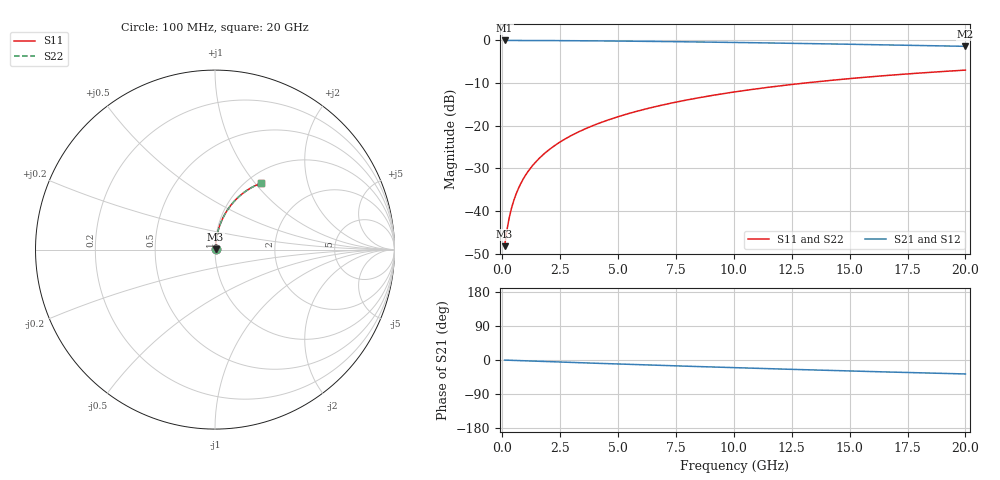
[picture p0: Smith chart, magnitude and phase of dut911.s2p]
! Touchstone file exported from HFSS 2024.1.0
!  File:  C:/UserFiles/LocalFiles/RDL_TSV_Batchsim/temp_RDL_top_911_1779935995.aedt
!  Generated:  10:43:14 AM May 28, 2026
!  Design:  RDL_top
!  Project:  temp_RDL_top_911_1779935995
!  Setup:  Setup1
!  Solution:  Sweep
! Variables:
!  dtsv = 10.80580581um
!  hbump = 3um
!  htsv = 80.21um
!  ldown = 100um
!  lrdl = 432.27um
!  p = 40
!  p1 = 58.6um
!  rhole = 1um
!  t = 450um
!  tdown = 3.915915916um
!  trdl = 4.93um
!  wdown = 15.38538539um
!  wrdl = 11.06um
# GHz S MA R 50.000000
! Terminal data exported
! Port[1] = Box2_T1
! Port[2] = Box2_T2
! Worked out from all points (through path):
!   200 points, 100 MHz to 20 GHz, reference 50 ohm
!   highest |S21| = -0.02 dB at 100 MHz (marker M1); lowest = -1.4 dB at 20 GHz (marker M2)
!   group delay of S21, straight-line fit = 5.12 ps
!   lowest |S11| = -48.2 dB at 100 MHz (marker M3), VSWR 1.01, Z = 50.3 + j0.266 ohm
!   |S11| at or under -10 dB: start of sweep to 13.05 GHz
!   |S22| runs from -48.2 to -7.0 dB; largest |S21 - S12| = 3.4e-15
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0.1  0.003897 42.7  0.9971 -0.2  0.9971 -0.2  0.003897 42.7
! Gamma 0 0 0 0
! Port Impedance 50 0 50 0
0.2  0.006004 61.4  0.9971 -0.4  0.9971 -0.4  0.006004 61.4
0.3  0.008403 69.8  0.997 -0.7  0.997 -0.7  0.008404 69.8
0.4  0.0109 74.3  0.9969 -0.9  0.9969 -0.9  0.0109 74.3
0.5  0.01343 77.0  0.9968 -1.1  0.9968 -1.1  0.01344 77.0
0.6  0.01599 78.7  0.9967 -1.3  0.9967 -1.3  0.01599 78.7
0.8  0.02113 80.8  0.9964 -1.7  0.9964 -1.7  0.02113 80.8
1.1  0.02885 82.2  0.996 -2.4  0.996 -2.4  0.02886 82.2
1.5  0.03914 82.8  0.9953 -3.2  0.9953 -3.2  0.03915 82.8
1.8  0.04683 82.9  0.9946 -3.9  0.9946 -3.9  0.04684 82.9
2.1  0.0545 82.8  0.9938 -4.5  0.9938 -4.5  0.05451 82.8
2.7  0.06978 82.4  0.9919 -5.8  0.9919 -5.8  0.06978 82.4
3.5  0.09004 81.5  0.9888 -7.4  0.9888 -7.4  0.09004 81.5
4.2  0.1077 80.5  0.9855 -8.9  0.9855 -8.9  0.1077 80.5
5  0.1277 79.4  0.9812 -10.5  0.9812 -10.5  0.1277 79.4
5.9  0.15 78.0  0.9758 -12.3  0.9758 -12.3  0.15 78.0
6.8  0.1721 76.6  0.9699 -14.1  0.9699 -14.1  0.1722 76.6
8.3  0.2084 74.2  0.959 -17.0  0.959 -17.0  0.2084 74.2
10.1  0.2506 71.2  0.9446 -20.4  0.9446 -20.4  0.2507 71.2
13.4  0.3236 65.7  0.9154 -26.2  0.9154 -26.2  0.3237 65.7
16.7  0.3898 60.4  0.8838 -31.7  0.8838 -31.7  0.3899 60.4
20  0.4485 55.4  0.8512 -36.9  0.8512 -36.9  0.4486 55.4
